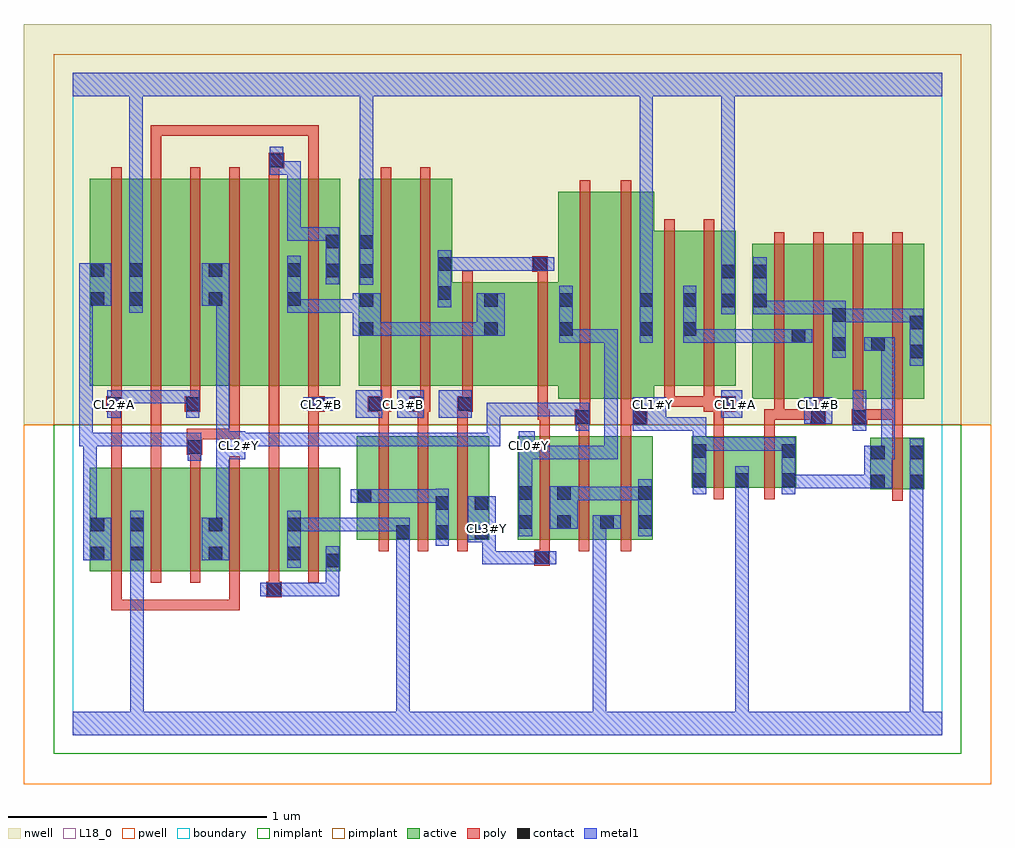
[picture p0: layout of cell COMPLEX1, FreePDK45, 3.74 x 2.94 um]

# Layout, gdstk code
import gdstk
lib = gdstk.Library(unit=1e-6, precision=1e-09)
def R(c, l, rs):  # rectangles x0, y0, x1, y1
    for r in rs: c.add(gdstk.rectangle(r[:2], r[2:], *l))
def A(c, l, x, y, w, h, nx, ny, dx, dy):  # array of equal rectangles
    R(c, l, [(x+i*dx, y+j*dy, x+i*dx+w, y+j*dy+h) for i in range(nx) for j in range(ny)])
active = (1, 0)
pwell = (2, 0)
nwell = (3, 0)
nimplant = (4, 0)
pimplant = (5, 0)
poly = (9, 0)
contact = (10, 0)
metal1 = (11, 0)
L18_0 = (18, 0)
boundary = (235, 0)

complex1 = lib.new_cell('COMPLEX1')
R(complex1, active, [(0.066,0.634,0.126,1.034), (0.066,0.634,0.278,1.034), (0.218,0.634,0.278,1.034), (0.218,0.634,0.398,1.034), (0.398,0.634,0.582,1.034), (0.522,0.634,0.582,1.034), (0.522,0.634,0.702,1.034), (0.702,0.634,0.886,1.034), (0.826,0.634,1.034,1.034), (0.826,0.634,0.886,0.844), (0.974,0.646,1.034,0.92), (1.098,0.756,1.158,1.156), (1.098,0.756,1.306,1.156), (1.246,0.756,1.458,1.156), (1.246,0.756,1.306,0.816), (1.398,0.756,1.458,1.156), (1.398,0.756,1.61,1.156), (1.55,0.756,1.61,1.156), (1.72,0.756,1.78,1.156), (1.72,0.756,1.928,1.156), (1.868,0.756,1.928,1.156), (1.868,0.756,2.094,1.156), (2.034,0.756,2.242,1.156), (2.034,0.756,2.094,0.854), (2.182,0.756,2.242,1.156), (3.082,0.95,3.142,1.15), (3.082,0.95,3.29,1.15), (3.23,0.95,3.29,1.15), (2.392,0.956,2.452,1.156), (2.392,0.956,2.616,1.156), (2.556,0.956,2.616,1.156), (2.556,0.956,2.796,1.156), (2.736,0.956,2.796,1.156), (1.876,1.3,2.062,2.1), (2.062,1.3,2.246,2.1), (2.626,1.3,2.834,1.9), (2.626,1.3,2.686,1.9), (2.774,1.3,2.834,1.844), (2.774,1.3,2.99,1.9), (2.93,1.3,3.142,1.9), (2.93,1.3,2.99,1.9), (3.082,1.3,3.29,1.9), (3.23,1.3,3.29,1.844), (0.066,1.35,0.274,2.15), (0.066,1.35,0.126,2.044), (0.214,1.35,0.398,2.15), (0.214,1.35,0.274,2.15), (0.398,1.35,0.582,2.15), (0.522,1.35,0.702,2.15), (0.702,1.35,0.886,2.15), (0.826,1.35,1.034,2.15), (0.974,1.35,1.034,2.15), (1.106,1.35,1.166,2.15), (1.106,1.35,1.286,2.15), (1.286,1.35,1.466,2.15), (1.406,1.35,1.646,1.75), (1.406,1.35,1.466,2.15), (1.586,1.35,1.936,1.75), (1.586,1.35,1.646,1.744), (1.876,1.35,1.936,2.09), (2.186,1.35,2.414,1.95), (2.354,1.35,2.562,1.95), (2.502,1.35,2.562,1.95), (3.082,1.482,3.142,1.844), (2.186,1.54,2.246,1.844), (2.354,1.54,2.414,1.844), (0.522,1.586,0.582,2.15), (0.826,1.65,0.886,2.044)])
R(complex1, pwell, [(-0.188,-0.188,3.548,1.2)])
R(complex1, nwell, [(-0.188,1.2,3.548,2.748)])
R(complex1, nimplant, [(-0.072,-0.072,3.432,1.2)])
R(complex1, pimplant, [(-0.072,1.2,3.432,2.632)])
A(complex1, poly, 0.15, 0.59, 0.04, 0.488, 6, 1, 0.152, 0)
A(complex1, poly, 1.182, 0.712, 0.04, 0.488, 3, 1, 0.152, 0)
A(complex1, poly, 1.182, 1.16, 0.04, 0.13, 3, 1, 0.152, 0)
A(complex1, poly, 2.71, 1.22, 0.04, 0.076, 4, 1, 0.152, 0)
A(complex1, poly, 2.71, 1.256, 0.04, 0.688, 4, 1, 0.152, 0)
A(complex1, poly, 0.15, 1.27, 0.04, 0.076, 3, 1, 0.152, 0)
A(complex1, poly, 0.15, 1.306, 0.04, 0.888, 6, 1, 0.152, 0)
R(complex1, poly, [(0.15,0.484,0.19,0.524), (0.15,0.484,0.19,0.524), (0.15,0.484,0.19,0.524), (0.15,0.484,0.296,0.524), (0.15,0.484,0.19,0.63), (0.256,0.484,0.296,0.524), (0.256,0.484,0.448,0.524), (0.408,0.484,0.448,0.524), (0.408,0.484,0.448,0.524), (0.408,0.484,0.448,0.524), (0.408,0.484,0.6,0.524), (0.56,0.484,0.6,0.524), (0.56,0.484,0.646,0.524), (0.606,0.484,0.646,0.524), (0.606,0.484,0.646,0.63), (0.748,0.534,0.808,0.594), (0.758,0.554,0.798,0.63), (1.784,0.656,1.844,0.716), (1.804,0.676,1.844,0.752), (1.804,0.712,1.844,1.2), (1.956,0.712,1.996,1.2), (2.118,0.712,2.158,1.2), (3.166,0.906,3.206,1.194), (2.476,0.912,2.516,1.2), (2.672,0.912,2.712,1.2), (0.15,1.038,0.19,1.29), (0.302,1.038,0.342,1.31), (0.454,1.038,0.494,1.124), (0.758,1.038,0.798,1.31), (0.91,1.038,0.95,1.29), (0.44,1.084,0.5,1.184), (0.46,1.144,0.6,1.184), (0.56,1.144,0.6,1.184), (0.56,1.144,0.6,1.184), (0.56,1.144,0.6,1.184), (0.56,1.144,0.646,1.184), (0.606,1.144,0.646,1.184), (0.606,1.144,0.646,1.346), (3.166,1.154,3.206,1.26), (1.804,1.16,1.844,1.26), (1.956,1.16,1.996,1.24), (2.118,1.16,2.158,1.24), (2.476,1.16,2.516,1.29), (2.672,1.16,2.712,1.26), (1.94,1.2,2,1.26), (1.956,1.2,1.996,1.24), (1.956,1.2,1.996,1.24), (2.118,1.2,2.22,1.26), (2.85,1.2,2.91,1.26), (3.01,1.2,3.07,1.26), (1.796,1.22,1.836,1.26), (1.796,1.22,1.836,1.26), (1.796,1.22,1.836,1.346), (1.796,1.22,1.844,1.26), (1.96,1.22,2,1.296), (2.118,1.22,2.158,1.296), (2.118,1.22,2.158,1.26), (2.118,1.22,2.158,1.26), (2.672,1.22,2.75,1.26), (2.71,1.22,2.75,1.26), (2.71,1.22,2.75,1.26), (2.71,1.22,2.89,1.26), (2.85,1.22,2.89,1.26), (2.85,1.22,2.89,1.26), (3.03,1.22,3.206,1.26), (3.166,1.22,3.206,1.26), (3.166,1.22,3.206,1.26), (3.166,1.22,3.206,1.26), (3.166,1.22,3.206,1.26), (3.166,1.22,3.206,1.26), (0.13,1.25,0.19,1.31), (0.15,1.25,0.19,1.29), (0.15,1.25,0.19,1.29), (0.434,1.25,0.494,1.31), (0.91,1.25,0.95,1.29), (0.91,1.25,0.95,1.29), (0.91,1.25,0.974,1.31), (1.14,1.25,1.23,1.31), (1.182,1.25,1.222,1.29), (1.182,1.25,1.222,1.29), (1.3,1.25,1.382,1.31), (1.334,1.25,1.374,1.29), (1.334,1.25,1.374,1.29), (1.486,1.25,1.526,1.29), (1.486,1.25,1.526,1.29), (1.486,1.25,1.546,1.31), (2.438,1.25,2.562,1.31), (2.476,1.25,2.516,1.29), (2.476,1.25,2.516,1.29), (1.96,1.256,2,2.144), (2.118,1.256,2.158,2.144), (0.302,1.27,0.342,1.31), (0.302,1.27,0.342,1.31), (0.302,1.27,0.342,1.31), (0.758,1.27,0.798,1.346), (0.758,1.27,0.798,1.31), (0.758,1.27,0.798,1.31), (0.758,1.27,0.798,1.31), (0.91,1.27,0.95,1.346), (1.19,1.27,1.23,1.346), (1.342,1.27,1.382,1.346), (1.506,1.27,1.546,1.346), (2.286,1.27,2.326,1.346), (2.286,1.27,2.326,1.31), (2.286,1.27,2.326,1.31), (2.286,1.27,2.326,1.31), (2.286,1.27,2.478,1.31), (2.438,1.27,2.478,1.346), (1.19,1.306,1.23,2.194), (1.342,1.306,1.382,2.194), (1.506,1.306,1.546,1.794), (1.796,1.306,1.836,1.794), (2.286,1.306,2.326,1.994), (2.438,1.306,2.478,1.994), (1.796,1.754,1.836,1.83), (1.776,1.79,1.836,1.85), (0.302,2.154,0.342,2.356), (0.758,2.154,0.798,2.23), (0.91,2.154,0.95,2.356), (0.758,2.19,0.818,2.25), (0.302,2.316,0.342,2.356), (0.302,2.316,0.448,2.356), (0.408,2.316,0.448,2.356), (0.408,2.316,0.448,2.356), (0.408,2.316,0.448,2.356), (0.408,2.316,0.448,2.356), (0.408,2.316,0.448,2.356), (0.408,2.316,0.606,2.356), (0.566,2.316,0.606,2.356), (0.566,2.316,0.606,2.356), (0.566,2.316,0.606,2.356), (0.566,2.316,0.844,2.356), (0.804,2.316,0.844,2.356), (0.804,2.316,0.844,2.356), (0.804,2.316,0.844,2.356), (0.804,2.316,0.95,2.356), (0.91,2.316,0.95,2.356), (0.91,2.316,0.95,2.356), (0.91,2.316,0.95,2.356), (0.91,2.316,0.95,2.356), (0.91,2.316,0.95,2.356)])
A(complex1, contact, 0.222, 0.676, 0.052, 0.052, 3, 2, 0.304, 0.112)
A(complex1, contact, 1.25, 0.76, 0.052, 0.052, 3, 1, 0.152, 0)
A(complex1, contact, 1.11, 1.544, 0.052, 0.052, 1, 4, 0, 0.112)
R(complex1, contact, [(0.752,0.538,0.804,0.59), (0.978,0.65,1.03,0.702), (1.788,0.66,1.84,0.712), (0.07,0.676,0.122,0.728), (0.07,0.788,0.122,0.84), (1.724,0.798,1.776,0.85), (1.872,0.798,1.924,0.85), (2.038,0.798,2.09,0.85), (2.186,0.798,2.238,0.85), (1.402,0.872,1.454,0.924), (1.554,0.872,1.606,0.924), (1.102,0.898,1.154,0.95), (1.724,0.91,1.776,0.962), (1.872,0.91,1.924,0.962), (2.186,0.91,2.238,0.962), (3.086,0.954,3.138,1.006), (3.234,0.954,3.286,1.006), (2.396,0.96,2.448,1.012), (2.56,0.96,2.612,1.012), (2.74,0.96,2.792,1.012), (3.086,1.066,3.138,1.118), (3.234,1.066,3.286,1.118), (2.396,1.072,2.448,1.124), (2.74,1.072,2.792,1.124), (0.444,1.088,0.496,1.14), (1.944,1.204,1.996,1.256), (2.164,1.204,2.216,1.256), (2.854,1.204,2.906,1.256), (3.014,1.204,3.066,1.256), (0.134,1.254,0.186,1.306), (0.438,1.254,0.49,1.306), (0.918,1.254,0.97,1.306), (1.144,1.254,1.196,1.306), (1.304,1.254,1.356,1.306), (1.49,1.254,1.542,1.306), (2.506,1.254,2.558,1.306), (3.234,1.456,3.286,1.508), (2.934,1.486,2.986,1.538), (3.086,1.486,3.138,1.538), (2.778,1.516,2.83,1.568), (1.59,1.544,1.642,1.596), (1.88,1.544,1.932,1.596), (2.19,1.544,2.242,1.596), (2.358,1.544,2.41,1.596), (3.234,1.568,3.286,1.62), (2.934,1.598,2.986,1.65), (2.506,1.654,2.558,1.706), (2.63,1.654,2.682,1.706), (1.59,1.656,1.642,1.708), (1.88,1.656,1.932,1.708), (2.19,1.656,2.242,1.708), (2.358,1.656,2.41,1.708), (0.07,1.66,0.122,1.712), (0.218,1.66,0.27,1.712), (0.526,1.66,0.578,1.712), (0.83,1.66,0.882,1.712), (1.41,1.682,1.462,1.734), (2.506,1.766,2.558,1.818), (2.63,1.766,2.682,1.818), (0.978,1.77,1.03,1.822), (0.07,1.772,0.122,1.824), (0.218,1.772,0.27,1.824), (0.526,1.772,0.578,1.824), (0.83,1.772,0.882,1.824), (1.41,1.794,1.462,1.846), (1.78,1.794,1.832,1.846), (0.978,1.882,1.03,1.934), (0.762,2.194,0.814,2.246)])
R(complex1, metal1, [(0,0,3.36,0.092), (0.222,0.04,0.274,0.7), (1.25,0.04,1.302,0.784), (2.01,0.04,2.062,0.092), (2.01,0.04,2.062,0.092), (2.01,0.04,2.062,0.092), (2.01,0.04,2.062,0.092), (2.01,0.04,2.062,0.092), (2.01,0.04,2.062,0.092), (2.01,0.04,2.062,0.092), (2.01,0.04,2.062,0.092), (2.01,0.04,2.062,0.092), (2.01,0.04,2.062,0.092), (2.01,0.04,2.062,0.092), (2.01,0.04,2.062,0.092), (2.01,0.04,2.062,0.85), (2.56,0.04,2.612,0.092), (2.56,0.04,2.612,0.092), (2.56,0.04,2.612,0.092), (2.56,0.04,2.612,0.092), (2.56,0.04,2.612,0.092), (2.56,0.04,2.612,0.092), (2.56,0.04,2.612,0.092), (2.56,0.04,2.612,0.092), (2.56,0.04,2.612,0.092), (2.56,0.04,2.612,0.092), (2.56,0.04,2.612,0.092), (2.56,0.04,2.612,0.092), (2.56,0.04,2.612,0.092), (2.56,0.04,2.612,0.092), (2.56,0.04,2.612,0.092), (2.56,0.04,2.612,0.092), (2.56,0.04,2.612,0.984), (3.234,0.04,3.286,0.978), (0.724,0.538,0.832,0.59), (0.78,0.538,0.906,0.59), (0.854,0.538,0.906,0.59), (0.854,0.538,1.016,0.59), (0.964,0.538,1.016,0.59), (0.964,0.538,1.03,0.59), (0.978,0.538,1.03,0.59), (0.978,0.538,1.03,0.674), (0.978,0.622,1.03,0.73), (0.222,0.648,0.274,0.7), (0.222,0.648,0.274,0.7), (0.222,0.648,0.274,0.7), (0.222,0.648,0.274,0.7), (0.222,0.648,0.274,0.7), (0.222,0.648,0.274,0.7), (0.222,0.648,0.274,0.7), (0.222,0.648,0.274,0.7), (0.222,0.648,0.274,0.7), (0.222,0.648,0.274,0.7), (0.222,0.648,0.274,0.7), (0.222,0.648,0.274,0.7), (0.222,0.648,0.274,0.868), (0.83,0.648,0.882,0.868), (1.582,0.66,1.634,0.712), (1.582,0.66,1.652,0.712), (1.582,0.66,1.634,0.798), (1.6,0.66,1.652,0.712), (1.6,0.66,1.812,0.712), (1.76,0.66,1.868,0.712), (0.042,0.676,0.15,0.84), (0.498,0.676,0.606,0.84), (1.25,0.732,1.302,0.784), (1.25,0.732,1.302,0.784), (1.25,0.732,1.302,0.784), (1.25,0.732,1.302,0.784), (1.25,0.732,1.302,0.784), (1.25,0.732,1.302,0.784), (1.25,0.732,1.302,0.784), (1.25,0.732,1.302,0.784), (1.25,0.732,1.302,0.784), (1.25,0.732,1.302,0.784), (1.25,0.732,1.302,0.784), (1.25,0.732,1.302,0.784), (1.25,0.732,1.302,0.84), (1.402,0.732,1.454,0.952), (1.526,0.746,1.634,0.924), (1.724,0.77,1.776,0.99), (2.186,0.77,2.238,0.99), (0.042,0.788,0.094,1.168), (0.554,0.788,0.606,1.118), (0.83,0.788,1.016,0.84), (0.964,0.788,1.016,0.84), (0.964,0.788,1.016,0.84), (0.964,0.788,1.016,0.84), (0.964,0.788,1.14,0.84), (1.088,0.788,1.14,0.84), (1.088,0.788,1.14,0.84), (1.088,0.788,1.14,0.84), (1.088,0.788,1.14,0.84), (1.088,0.788,1.14,0.84), (1.088,0.788,1.302,0.84), (1.844,0.798,1.952,0.962), (2.01,0.798,2.118,0.85), (1.074,0.898,1.182,0.95), (1.13,0.898,1.182,0.95), (1.13,0.898,1.182,0.95), (1.13,0.898,1.306,0.95), (1.254,0.898,1.306,0.95), (1.254,0.898,1.306,0.95), (1.254,0.898,1.306,0.95), (1.254,0.898,1.454,0.95), (1.9,0.908,2.062,0.96), (2.01,0.908,2.062,0.96), (2.01,0.908,2.062,0.96), (2.01,0.908,2.062,0.96), (2.01,0.908,2.238,0.96), (2.186,0.908,2.238,0.96), (2.186,0.908,2.238,0.96), (3.234,0.926,3.286,0.978), (3.234,0.926,3.286,0.978), (3.234,0.926,3.286,0.978), (3.234,0.926,3.286,0.978), (3.234,0.926,3.286,0.978), (3.234,0.926,3.286,0.978), (3.234,0.926,3.286,0.978), (3.234,0.926,3.286,0.978), (3.234,0.926,3.286,0.978), (3.234,0.926,3.286,0.978), (3.234,0.926,3.286,0.978), (3.234,0.926,3.286,0.978), (3.234,0.926,3.286,0.978), (3.234,0.926,3.286,0.978), (3.234,0.926,3.286,0.978), (3.234,0.926,3.286,0.978), (3.234,0.926,3.286,1.146), (2.396,0.932,2.448,1.152), (2.56,0.932,2.612,1.04), (2.74,0.932,2.792,1.152), (1.724,0.938,1.776,1.118), (2.74,0.954,2.956,1.006), (2.904,0.954,2.956,1.006), (2.904,0.954,2.956,1.006), (2.904,0.954,2.956,1.006), (2.904,0.954,3.11,1.006), (3.058,0.954,3.11,1.006), (3.058,0.954,3.11,1.006), (3.058,0.954,3.166,1.118), (0.444,1.06,0.496,1.168), (0.554,1.066,0.666,1.174), (1.724,1.066,1.786,1.174), (1.734,1.066,1.786,1.118), (1.734,1.066,1.786,1.118), (1.734,1.066,1.896,1.118), (1.844,1.066,1.896,1.118), (1.844,1.066,2.106,1.118), (2.054,1.066,2.106,1.118), (2.054,1.066,2.106,1.118), (2.054,1.066,2.106,1.118), (2.054,1.066,2.106,1.568), (3.114,1.066,3.166,1.118), (3.114,1.066,3.176,1.118), (3.124,1.066,3.176,1.538), (2.396,1.1,2.558,1.152), (2.396,1.1,2.448,1.228), (2.506,1.1,2.558,1.152), (2.506,1.1,2.558,1.152), (2.506,1.1,2.558,1.152), (2.506,1.1,2.682,1.152), (2.63,1.1,2.682,1.152), (2.63,1.1,2.682,1.152), (2.63,1.1,2.682,1.152), (2.63,1.1,2.792,1.152), (0.026,1.116,0.078,1.712), (0.026,1.116,0.094,1.168), (0.042,1.116,0.094,1.168), (0.042,1.116,0.094,1.168), (0.042,1.116,0.27,1.168), (0.218,1.116,0.27,1.168), (0.218,1.116,0.38,1.168), (0.328,1.116,0.38,1.168), (0.328,1.116,0.38,1.168), (0.328,1.116,0.38,1.168), (0.328,1.116,0.496,1.168), (0.614,1.116,0.666,1.168), (0.614,1.116,0.666,1.168), (0.614,1.116,0.772,1.168), (0.72,1.116,0.772,1.168), (0.72,1.116,0.776,1.168), (0.724,1.116,0.776,1.168), (0.724,1.116,0.882,1.168), (0.83,1.116,0.882,1.168), (0.83,1.116,1.016,1.168), (0.964,1.116,1.016,1.168), (0.964,1.116,1.016,1.168), (0.964,1.116,1.016,1.168), (0.964,1.116,1.19,1.168), (1.138,1.116,1.19,1.168), (1.138,1.116,1.19,1.168), (1.138,1.116,1.19,1.168), (1.138,1.116,1.3,1.168), (1.248,1.116,1.3,1.168), (1.248,1.116,1.3,1.168), (1.248,1.116,1.3,1.168), (1.248,1.116,1.468,1.168), (1.416,1.116,1.468,1.168), (1.416,1.116,1.468,1.168), (1.416,1.116,1.468,1.168), (1.416,1.116,1.652,1.168), (1.6,1.116,1.652,1.168), (1.6,1.116,1.652,1.284), (0.554,1.122,0.606,1.712), (1.944,1.176,1.996,1.284), (2.164,1.176,2.294,1.306), (2.242,1.176,2.294,1.228), (2.242,1.176,2.294,1.228), (2.242,1.176,2.404,1.228), (2.352,1.176,2.404,1.228), (2.352,1.176,2.448,1.228), (2.396,1.176,2.448,1.228), (3.014,1.176,3.066,1.334), (2.826,1.204,2.934,1.306), (0.134,1.226,0.186,1.334), (0.438,1.226,0.49,1.334), (1.094,1.226,1.196,1.334), (1.254,1.226,1.356,1.334), (1.414,1.226,1.542,1.334), (2.506,1.226,2.586,1.334), (1.6,1.232,1.652,1.284), (1.6,1.232,1.652,1.284), (1.6,1.232,1.652,1.284), (1.6,1.232,1.786,1.284), (1.734,1.232,1.786,1.284), (1.734,1.232,1.896,1.284), (1.844,1.232,1.896,1.284), (1.844,1.232,1.996,1.284), (0.89,1.254,1.014,1.306), (0.134,1.282,0.27,1.334), (0.218,1.282,0.27,1.334), (0.218,1.282,0.38,1.334), (0.328,1.282,0.38,1.334), (0.328,1.282,0.38,1.334), (0.328,1.282,0.38,1.334), (0.328,1.282,0.49,1.334), (3.234,1.428,3.286,1.648), (2.934,1.458,2.986,1.678), (3.058,1.486,3.176,1.538), (3.124,1.486,3.176,1.538), (3.124,1.486,3.176,1.538), (1.88,1.516,1.932,1.568), (1.88,1.516,1.932,1.568), (1.88,1.516,1.932,1.736), (1.88,1.516,2.106,1.568), (2.054,1.516,2.106,1.568), (2.054,1.516,2.106,1.568), (2.054,1.516,2.106,1.568), (2.19,1.516,2.242,1.736), (2.358,1.516,2.41,1.736), (2.358,1.516,2.568,1.568), (2.516,1.516,2.568,1.568), (2.516,1.516,2.568,1.568), (2.516,1.516,2.568,1.568), (2.516,1.516,2.678,1.568), (2.626,1.516,2.678,1.568), (2.626,1.516,2.678,1.568), (2.626,1.516,2.678,1.568), (2.626,1.516,2.802,1.568), (2.75,1.516,2.858,1.568), (1.082,1.544,1.19,1.708), (1.138,1.544,1.19,1.596), (1.138,1.544,1.19,1.596), (1.138,1.544,1.3,1.596), (1.248,1.544,1.3,1.596), (1.248,1.544,1.3,1.596), (1.248,1.544,1.3,1.596), (1.248,1.544,1.416,1.596), (1.364,1.544,1.416,1.596), (1.364,1.544,1.416,1.596), (1.364,1.544,1.416,1.596), (1.364,1.544,1.614,1.596), (1.562,1.544,1.67,1.708), (2.934,1.596,3.096,1.648), (3.044,1.596,3.096,1.648), (3.044,1.596,3.096,1.648), (3.044,1.596,3.096,1.648), (3.044,1.596,3.286,1.648), (3.234,1.596,3.286,1.648), (3.234,1.596,3.286,1.648), (2.506,1.626,2.558,1.846), (2.63,1.626,2.682,1.678), (2.63,1.626,2.682,1.678), (2.63,1.626,2.682,1.846), (2.63,1.626,2.832,1.678), (2.78,1.626,2.832,1.678), (2.78,1.626,2.832,1.678), (2.78,1.626,2.832,1.678), (2.78,1.626,2.986,1.678), (0.218,1.632,0.27,1.852), (0.83,1.632,0.882,1.852), (0.83,1.632,1.016,1.684), (0.964,1.632,1.016,1.684), (0.964,1.632,1.016,1.684), (0.964,1.632,1.016,1.684), (0.964,1.632,1.134,1.684), (1.41,1.654,1.462,1.874), (0.026,1.66,0.078,1.712), (0.026,1.66,0.078,1.712), (0.026,1.66,0.15,1.824), (0.498,1.66,0.606,1.824), (0.554,1.66,0.606,1.712), (0.554,1.66,0.606,1.712), (2.19,1.684,2.242,2.52), (1.11,1.74,1.162,1.96), (0.978,1.742,1.03,1.962), (1.41,1.794,1.462,1.846), (1.41,1.794,1.462,1.846), (1.41,1.794,1.676,1.846), (1.624,1.794,1.676,1.846), (1.624,1.794,1.676,1.846), (1.624,1.794,1.676,1.846), (1.624,1.794,1.804,1.846), (1.752,1.794,1.86,1.846), (2.506,1.794,2.558,1.846), (2.506,1.794,2.558,1.846), (2.506,1.794,2.558,1.846), (2.506,1.794,2.558,1.846), (2.506,1.794,2.558,1.846), (2.506,1.794,2.558,1.846), (2.506,1.794,2.558,2.52), (0.218,1.8,0.27,2.52), (1.11,1.908,1.162,1.96), (1.11,1.908,1.162,1.96), (1.11,1.908,1.162,1.96), (1.11,1.908,1.162,1.96), (1.11,1.908,1.162,2.52), (0.83,1.91,0.882,1.962), (0.83,1.91,0.942,1.962), (0.83,1.91,0.882,2.218), (0.89,1.91,0.942,1.962), (0.89,1.91,1.03,1.962), (0.762,2.166,0.814,2.274), (0.762,2.166,0.882,2.218), (0.83,2.166,0.882,2.218), (0,2.468,3.36,2.56), (0.218,2.468,0.27,2.52), (0.218,2.468,0.27,2.52), (0.218,2.468,0.27,2.52), (0.218,2.468,0.27,2.52), (0.218,2.468,0.27,2.52), (0.218,2.468,0.27,2.52), (0.218,2.468,0.27,2.52), (0.218,2.468,0.27,2.52), (1.11,2.468,1.162,2.52), (1.11,2.468,1.162,2.52), (1.11,2.468,1.162,2.52), (1.11,2.468,1.162,2.52), (2.19,2.468,2.242,2.52), (2.19,2.468,2.242,2.52), (2.19,2.468,2.242,2.52), (2.19,2.468,2.242,2.52), (2.19,2.468,2.242,2.52), (2.19,2.468,2.242,2.52), (2.19,2.468,2.242,2.52), (2.19,2.468,2.242,2.52), (2.506,2.468,2.558,2.52), (2.506,2.468,2.558,2.52), (2.506,2.468,2.558,2.52), (2.506,2.468,2.558,2.52), (2.506,2.468,2.558,2.52), (2.506,2.468,2.558,2.52)])
A(complex1, L18_0, 0.934, 1.254, 0.052, 0.052, 4, 1, 0.16, 0)
A(complex1, L18_0, 2.214, 1.254, 0.052, 0.052, 3, 1, 0.32, 0)
R(complex1, L18_0, [(0,0,3.36,0.092), (0.222,0.04,0.274,0.7), (1.25,0.04,1.302,0.784), (2.01,0.04,2.062,0.092), (2.01,0.04,2.062,0.092), (2.01,0.04,2.062,0.092), (2.01,0.04,2.062,0.092), (2.01,0.04,2.062,0.092), (2.01,0.04,2.062,0.092), (2.01,0.04,2.062,0.092), (2.01,0.04,2.062,0.092), (2.01,0.04,2.062,0.092), (2.01,0.04,2.062,0.092), (2.01,0.04,2.062,0.092), (2.01,0.04,2.062,0.092), (2.01,0.04,2.062,0.85), (2.56,0.04,2.612,0.092), (2.56,0.04,2.612,0.092), (2.56,0.04,2.612,0.092), (2.56,0.04,2.612,0.092), (2.56,0.04,2.612,0.092), (2.56,0.04,2.612,0.092), (2.56,0.04,2.612,0.092), (2.56,0.04,2.612,0.092), (2.56,0.04,2.612,0.092), (2.56,0.04,2.612,0.092), (2.56,0.04,2.612,0.092), (2.56,0.04,2.612,0.092), (2.56,0.04,2.612,0.092), (2.56,0.04,2.612,0.092), (2.56,0.04,2.612,0.092), (2.56,0.04,2.612,0.092), (2.56,0.04,2.612,0.984), (3.234,0.04,3.286,0.978), (0.222,0.648,0.274,0.7), (0.222,0.648,0.274,0.7), (0.222,0.648,0.274,0.7), (0.222,0.648,0.274,0.7), (0.222,0.648,0.274,0.7), (0.222,0.648,0.274,0.7), (0.222,0.648,0.274,0.7), (0.222,0.648,0.274,0.7), (0.222,0.648,0.274,0.7), (0.222,0.648,0.274,0.7), (0.222,0.648,0.274,0.7), (0.222,0.648,0.274,0.7), (0.222,0.648,0.274,0.868), (0.83,0.648,0.882,0.868), (1.582,0.66,1.634,0.712), (1.582,0.66,1.634,0.798), (1.582,0.66,1.652,0.712), (1.6,0.66,1.652,0.712), (1.6,0.66,1.812,0.712), (1.76,0.66,1.868,0.712), (0.498,0.676,0.606,0.84), (1.25,0.732,1.302,0.84), (1.25,0.732,1.302,0.784), (1.25,0.732,1.302,0.784), (1.25,0.732,1.302,0.784), (1.25,0.732,1.302,0.784), (1.25,0.732,1.302,0.784), (1.25,0.732,1.302,0.784), (1.25,0.732,1.302,0.784), (1.25,0.732,1.302,0.784), (1.25,0.732,1.302,0.784), (1.25,0.732,1.302,0.784), (1.25,0.732,1.302,0.784), (1.25,0.732,1.302,0.784), (1.526,0.746,1.634,0.924), (1.724,0.77,1.776,0.99), (1.574,0.774,1.626,0.826), (0.554,0.788,0.606,1.118), (0.83,0.788,1.016,0.84), (0.964,0.788,1.016,0.84), (0.964,0.788,1.016,0.84), (0.964,0.788,1.016,0.84), (0.964,0.788,1.14,0.84), (1.088,0.788,1.14,0.84), (1.088,0.788,1.14,0.84), (1.088,0.788,1.14,0.84), (1.088,0.788,1.14,0.84), (1.088,0.788,1.14,0.84), (1.088,0.788,1.302,0.84), (2.01,0.798,2.118,0.85), (3.234,0.926,3.286,0.978), (3.234,0.926,3.286,0.978), (3.234,0.926,3.286,0.978), (3.234,0.926,3.286,0.978), (3.234,0.926,3.286,0.978), (3.234,0.926,3.286,0.978), (3.234,0.926,3.286,0.978), (3.234,0.926,3.286,0.978), (3.234,0.926,3.286,0.978), (3.234,0.926,3.286,0.978), (3.234,0.926,3.286,0.978), (3.234,0.926,3.286,0.978), (3.234,0.926,3.286,0.978), (3.234,0.926,3.286,0.978), (3.234,0.926,3.286,0.978), (3.234,0.926,3.286,0.978), (3.234,0.926,3.286,1.146), (2.396,0.932,2.448,1.152), (2.56,0.932,2.612,1.04), (2.74,0.932,2.792,1.152), (1.724,0.938,1.776,1.118), (2.74,0.954,2.956,1.006), (2.904,0.954,2.956,1.006), (2.904,0.954,2.956,1.006), (2.904,0.954,2.956,1.006), (2.904,0.954,3.11,1.006), (3.058,0.954,3.11,1.006), (3.058,0.954,3.11,1.006), (3.058,0.954,3.166,1.118), (0.554,1.066,0.666,1.174), (1.724,1.066,1.786,1.174), (1.734,1.066,1.786,1.118), (1.734,1.066,1.786,1.118), (1.734,1.066,1.896,1.118), (1.844,1.066,1.896,1.118), (1.844,1.066,2.106,1.118), (2.054,1.066,2.106,1.118), (2.054,1.066,2.106,1.118), (2.054,1.066,2.106,1.118), (2.054,1.066,2.106,1.568), (3.114,1.066,3.166,1.118), (3.114,1.066,3.176,1.118), (3.124,1.066,3.176,1.538), (0.614,1.094,0.666,1.146), (1.734,1.094,1.786,1.146), (2.396,1.1,2.558,1.152), (2.396,1.1,2.448,1.228), (2.506,1.1,2.558,1.152), (2.506,1.1,2.558,1.152), (2.506,1.1,2.558,1.152), (2.506,1.1,2.682,1.152), (2.63,1.1,2.682,1.152), (2.63,1.1,2.682,1.152), (2.63,1.1,2.682,1.152), (2.63,1.1,2.792,1.152), (0.614,1.116,0.666,1.168), (0.614,1.116,0.666,1.168), (0.614,1.116,0.772,1.168), (0.72,1.116,0.772,1.168), (0.72,1.116,0.776,1.168), (0.724,1.116,0.776,1.168), (0.724,1.116,0.882,1.168), (0.83,1.116,0.882,1.168), (0.83,1.116,1.016,1.168), (0.964,1.116,1.016,1.168), (0.964,1.116,1.016,1.168), (0.964,1.116,1.016,1.168), (0.964,1.116,1.19,1.168), (1.138,1.116,1.19,1.168), (1.138,1.116,1.19,1.168), (1.138,1.116,1.19,1.168), (1.138,1.116,1.3,1.168), (1.248,1.116,1.3,1.168), (1.248,1.116,1.3,1.168), (1.248,1.116,1.3,1.168), (1.248,1.116,1.468,1.168), (1.416,1.116,1.468,1.168), (1.416,1.116,1.468,1.168), (1.416,1.116,1.468,1.168), (1.416,1.116,1.652,1.168), (1.6,1.116,1.652,1.168), (1.6,1.116,1.652,1.284), (0.554,1.122,0.606,1.712), (1.944,1.176,1.996,1.284), (2.164,1.176,2.294,1.306), (2.242,1.176,2.294,1.228), (2.242,1.176,2.294,1.228), (2.242,1.176,2.404,1.228), (2.352,1.176,2.404,1.228), (2.352,1.176,2.448,1.228), (2.396,1.176,2.448,1.228), (3.014,1.176,3.066,1.334), (2.826,1.204,2.934,1.306), (0.134,1.226,0.186,1.334), (0.438,1.226,0.49,1.334), (1.094,1.226,1.196,1.334), (1.254,1.226,1.356,1.334), (1.414,1.226,1.542,1.334), (2.506,1.226,2.586,1.334), (1.6,1.232,1.652,1.284), (1.6,1.232,1.652,1.284), (1.6,1.232,1.652,1.284), (1.6,1.232,1.786,1.284), (1.734,1.232,1.786,1.284), (1.734,1.232,1.896,1.284), (1.844,1.232,1.896,1.284), (1.844,1.232,1.996,1.284), (0.134,1.254,0.186,1.306), (0.89,1.254,1.014,1.306), (3.014,1.254,3.066,1.306), (0.134,1.282,0.27,1.334), (0.218,1.282,0.27,1.334), (0.218,1.282,0.38,1.334), (0.328,1.282,0.38,1.334), (0.328,1.282,0.38,1.334), (0.328,1.282,0.38,1.334), (0.328,1.282,0.49,1.334), (3.058,1.486,3.176,1.538), (3.124,1.486,3.176,1.538), (3.124,1.486,3.176,1.538), (1.88,1.516,1.932,1.568), (1.88,1.516,1.932,1.568), (1.88,1.516,1.932,1.736), (1.88,1.516,2.106,1.568), (2.054,1.516,2.106,1.568), (2.054,1.516,2.106,1.568), (2.054,1.516,2.106,1.568), (2.19,1.516,2.242,1.736), (1.082,1.544,1.19,1.708), (1.138,1.544,1.19,1.596), (1.138,1.544,1.19,1.596), (1.138,1.544,1.3,1.596), (1.248,1.544,1.3,1.596), (1.248,1.544,1.3,1.596), (1.248,1.544,1.3,1.596), (1.248,1.544,1.416,1.596), (1.364,1.544,1.416,1.596), (1.364,1.544,1.416,1.596), (1.364,1.544,1.416,1.596), (1.364,1.544,1.614,1.596), (1.562,1.544,1.67,1.708), (2.506,1.626,2.558,1.846), (0.218,1.632,0.27,1.852), (0.83,1.632,0.882,1.852), (0.83,1.632,1.016,1.684), (0.964,1.632,1.016,1.684), (0.964,1.632,1.016,1.684), (0.964,1.632,1.016,1.684), (0.964,1.632,1.134,1.684), (1.41,1.654,1.462,1.874), (0.498,1.66,0.606,1.824), (0.554,1.66,0.606,1.712), (0.554,1.66,0.606,1.712), (2.19,1.684,2.242,2.52), (1.11,1.74,1.162,1.96), (1.41,1.794,1.462,1.846), (1.41,1.794,1.462,1.846), (1.41,1.794,1.676,1.846), (1.624,1.794,1.676,1.846), (1.624,1.794,1.676,1.846), (1.624,1.794,1.676,1.846), (1.624,1.794,1.804,1.846), (1.752,1.794,1.86,1.846), (2.506,1.794,2.558,1.846), (2.506,1.794,2.558,1.846), (2.506,1.794,2.558,1.846), (2.506,1.794,2.558,1.846), (2.506,1.794,2.558,1.846), (2.506,1.794,2.558,1.846), (2.506,1.794,2.558,2.52), (0.218,1.8,0.27,2.52), (1.11,1.908,1.162,1.96), (1.11,1.908,1.162,1.96), (1.11,1.908,1.162,1.96), (1.11,1.908,1.162,1.96), (1.11,1.908,1.162,2.52), (0,2.468,3.36,2.56), (0.218,2.468,0.27,2.52), (0.218,2.468,0.27,2.52), (0.218,2.468,0.27,2.52), (0.218,2.468,0.27,2.52), (0.218,2.468,0.27,2.52), (0.218,2.468,0.27,2.52), (0.218,2.468,0.27,2.52), (0.218,2.468,0.27,2.52), (1.11,2.468,1.162,2.52), (1.11,2.468,1.162,2.52), (1.11,2.468,1.162,2.52), (1.11,2.468,1.162,2.52), (2.19,2.468,2.242,2.52), (2.19,2.468,2.242,2.52), (2.19,2.468,2.242,2.52), (2.19,2.468,2.242,2.52), (2.19,2.468,2.242,2.52), (2.19,2.468,2.242,2.52), (2.19,2.468,2.242,2.52), (2.19,2.468,2.242,2.52), (2.506,2.468,2.558,2.52), (2.506,2.468,2.558,2.52), (2.506,2.468,2.558,2.52), (2.506,2.468,2.558,2.52), (2.506,2.468,2.558,2.52), (2.506,2.468,2.558,2.52)])
R(complex1, boundary, [(0,0,3.36,2.56)])
complex1.add(gdstk.Label('CL0#Y', (1.76,1.12), layer=11, texttype=0))
complex1.add(gdstk.Label('CL1#A', (2.56,1.28), layer=11, texttype=0))
complex1.add(gdstk.Label('CL1#B', (2.88,1.28), layer=11, texttype=0))
complex1.add(gdstk.Label('CL1#C', (3.04,1.28), layer=11, texttype=0))
complex1.add(gdstk.Label('CL1#Y', (2.24,1.28), layer=11, texttype=0))
complex1.add(gdstk.Label('CL2#A', (0.16,1.28), layer=11, texttype=0))
complex1.add(gdstk.Label('CL2#B', (0.96,1.28), layer=11, texttype=0))
complex1.add(gdstk.Label('CL2#Y', (0.64,1.12), layer=11, texttype=0))
complex1.add(gdstk.Label('CL3#A', (1.12,1.28), layer=11, texttype=0))
complex1.add(gdstk.Label('CL3#B', (1.28,1.28), layer=11, texttype=0))
complex1.add(gdstk.Label('CL3#C', (1.44,1.28), layer=11, texttype=0))
complex1.add(gdstk.Label('CL3#Y', (1.6,0.8), layer=11, texttype=0))

lib.write_gds('COMPLEX1.gds')
